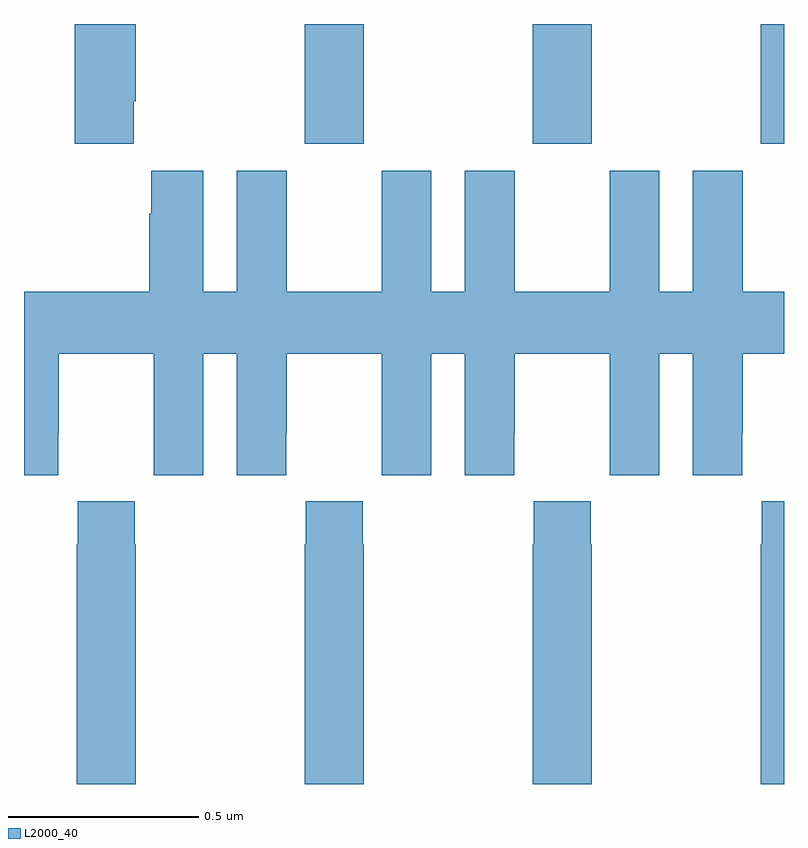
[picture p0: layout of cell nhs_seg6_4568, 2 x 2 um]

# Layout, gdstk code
import gdstk
lib = gdstk.Library(unit=1e-6, precision=1e-09)
def R(c, l, rs):  # rectangles x0, y0, x1, y1
    for r in rs: c.add(gdstk.rectangle(r[:2], r[2:], *l))
def P(c, l, *ps):  # polygons
    for p in ps: c.add(gdstk.Polygon(p, *l))
L2000_40 = (2000, 40)

nhs_seg6_4568 = lib.new_cell('nhs_seg6_4568')
R(nhs_seg6_4568, L2000_40, [(171.739,985.185,171.894,985.5), (172.339,985.185,172.494,985.5), (172.939,985.185,173,985.5)])
P(nhs_seg6_4568, L2000_40, [(171.289,985.297),(171.294,985.297),(171.294,985.5),(171.134,985.5),(171.134,985.185),(171.289,985.185)],
  [(171.335,985.114),(171.335,985.001),(171.329,985.001),(171.329,984.796),(171,984.796),(171,984.312),(171.09,984.312),(171.09,984.424),(171.091,984.424),(171.091,984.632),(171.341,984.632),(171.341,984.424),(171.342,984.424),(171.342,984.312),(171.472,984.312),(171.472,984.632),(171.56,984.632),(171.56,984.312),(171.69,984.312),(171.69,984.424),(171.691,984.424),(171.691,984.632),(171.941,984.632),(171.941,984.424),(171.942,984.424),(171.942,984.312),(172.072,984.312),(172.072,984.632),(172.16,984.632),(172.16,984.312),(172.29,984.312),(172.29,984.424),(172.291,984.424),(172.291,984.632),(172.541,984.632),(172.541,984.424),(172.542,984.424),(172.542,984.312),(172.672,984.312),(172.672,984.632),(172.76,984.632),(172.76,984.312),(172.89,984.312),(172.89,984.424),(172.891,984.424),(172.891,984.632),(173,984.632),(173,984.796),(172.891,984.796),(172.891,985.114),(172.76,985.114),(172.76,984.796),(172.672,984.796),(172.672,985.114),(172.541,985.114),(172.541,984.796),(172.291,984.796),(172.291,985.114),(172.16,985.114),(172.16,984.796),(172.072,984.796),(172.072,985.114),(171.941,985.114),(171.941,984.796),(171.691,984.796),(171.691,985.114),(171.56,985.114),(171.56,984.796),(171.472,984.796),(171.472,985.114)],
  [(173,984.244),(172.941,984.244),(172.941,984.131),(172.939,984.131),(172.939,983.5),(173,983.5)],
  [(172.494,984.131),(172.491,984.131),(172.491,984.244),(172.341,984.244),(172.341,984.131),(172.339,984.131),(172.339,983.5),(172.494,983.5)],
  [(171.894,984.131),(171.891,984.131),(171.891,984.244),(171.741,984.244),(171.741,984.131),(171.739,984.131),(171.739,983.5),(171.894,983.5)],
  [(171.294,984.131),(171.291,984.131),(171.291,984.244),(171.141,984.244),(171.141,984.131),(171.139,984.131),(171.139,983.5),(171.294,983.5)])

lib.write_gds('nhs_seg6_4568.gds')
